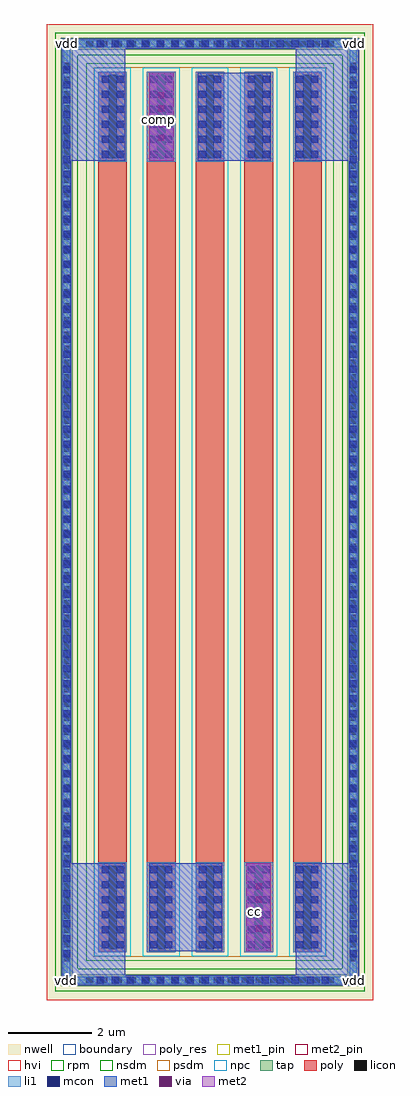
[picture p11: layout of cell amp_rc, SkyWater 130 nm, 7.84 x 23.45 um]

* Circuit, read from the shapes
.subckt amp_rc cc comp vdd
XR1 vdd vdd VSUBS sky130_fd_pr__res_high_po w=0.69 l=16.88 m=2
XR2 comp n1 VSUBS sky130_fd_pr__res_high_po w=0.69 l=16.88
XR3 n2 n1 VSUBS sky130_fd_pr__res_high_po w=0.69 l=16.88
XR4 n2 cc VSUBS sky130_fd_pr__res_high_po w=0.69 l=16.88
.ends

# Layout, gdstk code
from math import pi, radians
import gdstk
lib = gdstk.Library(unit=1e-6, precision=1e-09)
def R(c, l, rs):  # rectangles x0, y0, x1, y1
    for r in rs: c.add(gdstk.rectangle(r[:2], r[2:], *l))
def A(c, l, x, y, w, h, nx, ny, dx, dy):  # array of equal rectangles
    R(c, l, [(x+i*dx, y+j*dy, x+i*dx+w, y+j*dy+h) for i in range(nx) for j in range(ny)])
nwell = (64, 20)
tap = (65, 44)
poly_res = (66, 13)
poly = (66, 20)
licon = (66, 44)
li1 = (67, 20)
mcon = (67, 44)
met1_pin = (68, 16)
met1 = (68, 20)
via = (68, 44)
met2_pin = (69, 16)
met2 = (69, 20)
hvi = (75, 20)
rpm = (86, 20)
nsdm = (93, 44)
psdm = (94, 20)
npc = (95, 20)
boundary = (235, 4)

via__li_m1 = lib.new_cell('via__LI_M1')
R(via__li_m1, li1, [(0.03,0.03,0.56,0.2)])
R(via__li_m1, mcon, [(0.03,0.03,0.2,0.2), (0.39,0.03,0.56,0.2)])
R(via__li_m1, met1, [(0,0,0.59,0.23)])

via__m1_m2 = lib.new_cell('via__M1_M2')
R(via__m1_m2, met1, [(0,0.05,0.7,0.35)])
R(via__m1_m2, via, [(0.115,0.125,0.265,0.275), (0.435,0.125,0.585,0.275)])
R(via__m1_m2, met2, [(0.05,0,0.65,0.4)])

sky130_fd_pr__res_high_p = lib.new_cell('sky130_fd_pr__res_high_po_0p69_APWX4A')
R(sky130_fd_pr__res_high_p, nwell, [(0,0,7.84,23.45)])
R(sky130_fd_pr__res_high_p, tap, [(0.33,0.33,7.51,0.62), (0.33,0.62,0.62,22.83), (7.22,0.62,7.51,22.83), (0.33,22.83,7.51,23.12)])
A(sky130_fd_pr__res_high_p, poly_res, 1.235, 3.225, 0.69, 17, 5, 1, 1.17, 0)
A(sky130_fd_pr__res_high_p, poly, 1.235, 1.145, 0.69, 21.16, 5, 1, 1.17, 0)
A(sky130_fd_pr__res_high_p, licon, 0.945, 0.39, 0.17, 0.17, 18, 2, 0.34, 22.5)
A(sky130_fd_pr__res_high_p, licon, 0.39, 0.93, 0.17, 0.17, 1, 64, 0, 0.34)
A(sky130_fd_pr__res_high_p, licon, 7.28, 0.93, 0.17, 0.17, 1, 64, 0, 0.34)
A(sky130_fd_pr__res_high_p, licon, 1.485, 1.225, 0.19, 2, 5, 2, 1.17, 19)
A(sky130_fd_pr__res_high_p, li1, 1.235, 1.145, 0.69, 2.16, 5, 2, 1.17, 19)
R(sky130_fd_pr__res_high_p, li1, [(0.39,0.39,7.45,0.56), (0.39,0.56,0.56,22.89), (7.28,0.56,7.45,22.89), (0.39,22.89,7.45,23.06)])
A(sky130_fd_pr__res_high_p, mcon, 1.315, 1.24, 0.17, 0.17, 1, 6, 0, 0.36)
A(sky130_fd_pr__res_high_p, mcon, 1.675, 1.24, 0.17, 0.17, 1, 6, 0, 0.36)
A(sky130_fd_pr__res_high_p, mcon, 2.485, 1.24, 0.17, 0.17, 1, 6, 0, 0.36)
A(sky130_fd_pr__res_high_p, mcon, 2.845, 1.24, 0.17, 0.17, 1, 6, 0, 0.36)
A(sky130_fd_pr__res_high_p, mcon, 3.655, 1.24, 0.17, 0.17, 1, 6, 0, 0.36)
A(sky130_fd_pr__res_high_p, mcon, 4.015, 1.24, 0.17, 0.17, 1, 6, 0, 0.36)
A(sky130_fd_pr__res_high_p, mcon, 4.825, 1.24, 0.17, 0.17, 1, 6, 0, 0.36)
A(sky130_fd_pr__res_high_p, mcon, 5.185, 1.24, 0.17, 0.17, 1, 6, 0, 0.36)
A(sky130_fd_pr__res_high_p, mcon, 5.995, 1.24, 0.17, 0.17, 1, 6, 0, 0.36)
A(sky130_fd_pr__res_high_p, mcon, 6.355, 1.24, 0.17, 0.17, 1, 6, 0, 0.36)
A(sky130_fd_pr__res_high_p, mcon, 1.315, 20.235, 0.17, 0.17, 1, 6, 0, 0.36)
A(sky130_fd_pr__res_high_p, mcon, 1.675, 20.235, 0.17, 0.17, 1, 6, 0, 0.36)
A(sky130_fd_pr__res_high_p, mcon, 2.485, 20.235, 0.17, 0.17, 1, 6, 0, 0.36)
A(sky130_fd_pr__res_high_p, mcon, 2.845, 20.235, 0.17, 0.17, 1, 6, 0, 0.36)
A(sky130_fd_pr__res_high_p, mcon, 3.655, 20.235, 0.17, 0.17, 1, 6, 0, 0.36)
A(sky130_fd_pr__res_high_p, mcon, 4.015, 20.235, 0.17, 0.17, 1, 6, 0, 0.36)
A(sky130_fd_pr__res_high_p, mcon, 4.825, 20.235, 0.17, 0.17, 1, 6, 0, 0.36)
A(sky130_fd_pr__res_high_p, mcon, 5.185, 20.235, 0.17, 0.17, 1, 6, 0, 0.36)
A(sky130_fd_pr__res_high_p, mcon, 5.995, 20.235, 0.17, 0.17, 1, 6, 0, 0.36)
A(sky130_fd_pr__res_high_p, mcon, 6.355, 20.235, 0.17, 0.17, 1, 6, 0, 0.36)
A(sky130_fd_pr__res_high_p, met1, 1.285, 1.175, 0.59, 2.105, 5, 2, 1.17, 18.995)
R(sky130_fd_pr__res_high_p, hvi, [(0,0,7.84,23.45)])
R(sky130_fd_pr__res_high_p, rpm, [(0.945,0.945,6.895,22.505)])
R(sky130_fd_pr__res_high_p, nsdm, [(0.205,0.205,7.635,0.745), (0.205,0.745,0.745,22.705), (7.095,0.745,7.635,22.705), (0.205,22.705,7.635,23.245)])
R(sky130_fd_pr__res_high_p, psdm, [(1.125,1.035,6.715,22.415)])
A(sky130_fd_pr__res_high_p, npc, 1.14, 1.05, 0.88, 21.35, 5, 1, 1.17, 0)
R(sky130_fd_pr__res_high_p, boundary, [(0.475,0.475,7.365,22.975)])

amp_rc = lib.new_cell('amp_rc')
R(amp_rc, met1_pin, [(0.36,0.36,0.59,0.59), (7.26,0.36,7.49,0.59), (0.36,22.86,0.59,23.09), (7.26,22.86,7.49,23.09)])
R(amp_rc, met1, [(0.36,0.36,0.59,23.09), (0.37,0.36,7.49,0.59), (0.37,0.36,1.885,3.28), (5.975,0.36,7.49,3.28), (7.25,0.36,7.48,23.09), (2.455,1.175,4.215,3.28), (0.37,20.17,1.885,23.09), (3.625,20.17,5.385,22.275), (5.975,20.17,7.49,23.09), (0.37,22.86,7.49,23.09)])
R(amp_rc, met2_pin, [(4.795,1.175,5.385,3.28), (2.455,20.17,3.045,22.275)])
R(amp_rc, met2, [(4.795,1.175,5.385,3.28), (2.455,20.17,3.045,22.275)])
amp_rc.add(gdstk.Reference(via__li_m1, (1.17,0.36)))
amp_rc.add(gdstk.Reference(via__li_m1, (1.89,0.36)))
amp_rc.add(gdstk.Reference(via__li_m1, (2.61,0.36)))
amp_rc.add(gdstk.Reference(via__li_m1, (3.33,0.36)))
amp_rc.add(gdstk.Reference(via__li_m1, (4.05,0.36)))
amp_rc.add(gdstk.Reference(via__m1_m2, (2.55,21.93), rotation=3*pi/2))
amp_rc.add(gdstk.Reference(via__m1_m2, (2.55,21.23), rotation=3*pi/2))
amp_rc.add(gdstk.Reference(via__li_m1, (7.25,1.59), rotation=3*pi/2))
amp_rc.add(gdstk.Reference(via__li_m1, (7.25,2.31), rotation=3*pi/2))
amp_rc.add(gdstk.Reference(via__li_m1, (7.25,3.03), rotation=3*pi/2))
amp_rc.add(gdstk.Reference(via__li_m1, (7.25,3.75), rotation=3*pi/2))
amp_rc.add(gdstk.Reference(via__li_m1, (7.25,4.47), rotation=3*pi/2))
amp_rc.add(gdstk.Reference(via__li_m1, (7.25,5.19), rotation=3*pi/2))
amp_rc.add(gdstk.Reference(via__li_m1, (7.25,5.91), rotation=3*pi/2))
amp_rc.add(gdstk.Reference(via__li_m1, (7.25,6.63), rotation=3*pi/2))
amp_rc.add(gdstk.Reference(via__li_m1, (7.25,7.35), rotation=3*pi/2))
amp_rc.add(gdstk.Reference(via__li_m1, (7.25,8.07), rotation=3*pi/2))
amp_rc.add(gdstk.Reference(via__li_m1, (7.25,8.79), rotation=3*pi/2))
amp_rc.add(gdstk.Reference(via__li_m1, (7.25,9.51), rotation=3*pi/2))
amp_rc.add(gdstk.Reference(via__li_m1, (7.25,10.23), rotation=3*pi/2))
amp_rc.add(gdstk.Reference(via__li_m1, (7.25,10.95), rotation=3*pi/2))
amp_rc.add(gdstk.Reference(via__li_m1, (7.25,11.67), rotation=3*pi/2))
amp_rc.add(gdstk.Reference(via__li_m1, (7.25,12.39), rotation=3*pi/2))
amp_rc.add(gdstk.Reference(via__li_m1, (7.25,13.11), rotation=3*pi/2))
amp_rc.add(gdstk.Reference(via__m1_m2, (4.89,2.925), rotation=3*pi/2))
amp_rc.add(gdstk.Reference(via__m1_m2, (4.89,2.225), rotation=3*pi/2))
amp_rc.add(gdstk.Reference(via__li_m1, (4.77,0.36)))
amp_rc.add(gdstk.Reference(via__li_m1, (5.49,0.36)))
amp_rc.add(gdstk.Reference(via__li_m1, (6.21,0.36)))
amp_rc.add(gdstk.Reference(via__li_m1, (7.25,13.83), rotation=3*pi/2))
amp_rc.add(gdstk.Reference(via__li_m1, (7.25,14.55), rotation=3*pi/2))
amp_rc.add(gdstk.Reference(via__li_m1, (7.25,15.27), rotation=3*pi/2))
amp_rc.add(gdstk.Reference(via__li_m1, (7.25,15.99), rotation=3*pi/2))
amp_rc.add(gdstk.Reference(via__li_m1, (7.25,16.71), rotation=3*pi/2))
amp_rc.add(gdstk.Reference(via__li_m1, (7.25,17.43), rotation=3*pi/2))
amp_rc.add(gdstk.Reference(via__li_m1, (7.25,18.15), rotation=3*pi/2))
amp_rc.add(gdstk.Reference(via__li_m1, (7.25,18.87), rotation=3*pi/2))
amp_rc.add(gdstk.Reference(via__li_m1, (7.25,19.59), rotation=3*pi/2))
amp_rc.add(gdstk.Reference(via__li_m1, (7.25,20.31), rotation=3*pi/2))
amp_rc.add(gdstk.Reference(via__li_m1, (7.25,21.03), rotation=3*pi/2))
amp_rc.add(gdstk.Reference(via__li_m1, (7.25,21.75), rotation=3*pi/2))
amp_rc.add(gdstk.Reference(via__li_m1, (7.25,22.47), rotation=3*pi/2))
amp_rc.add(gdstk.Reference(via__li_m1, (1.17,22.86)))
amp_rc.add(gdstk.Reference(via__li_m1, (1.89,22.86)))
amp_rc.add(gdstk.Reference(via__li_m1, (2.61,22.86)))
amp_rc.add(gdstk.Reference(via__li_m1, (3.33,22.86)))
amp_rc.add(gdstk.Reference(via__li_m1, (4.05,22.86)))
amp_rc.add(gdstk.Reference(via__li_m1, (4.77,22.86)))
amp_rc.add(gdstk.Reference(via__li_m1, (5.49,22.86)))
amp_rc.add(gdstk.Reference(via__li_m1, (6.21,22.86)))
amp_rc.add(gdstk.Reference(via__li_m1, (0.36,1.59), rotation=3*pi/2))
amp_rc.add(gdstk.Reference(via__li_m1, (0.36,2.31), rotation=3*pi/2))
amp_rc.add(gdstk.Reference(via__li_m1, (0.36,3.03), rotation=3*pi/2))
amp_rc.add(gdstk.Reference(via__li_m1, (0.36,3.75), rotation=3*pi/2))
amp_rc.add(gdstk.Reference(via__li_m1, (0.36,4.47), rotation=3*pi/2))
amp_rc.add(gdstk.Reference(via__li_m1, (0.36,5.19), rotation=3*pi/2))
amp_rc.add(gdstk.Reference(via__li_m1, (0.36,5.91), rotation=3*pi/2))
amp_rc.add(gdstk.Reference(via__li_m1, (0.36,6.63), rotation=3*pi/2))
amp_rc.add(gdstk.Reference(via__li_m1, (0.36,7.35), rotation=3*pi/2))
amp_rc.add(gdstk.Reference(via__li_m1, (0.36,8.07), rotation=3*pi/2))
amp_rc.add(gdstk.Reference(via__li_m1, (0.36,8.79), rotation=3*pi/2))
amp_rc.add(gdstk.Reference(via__li_m1, (0.36,9.51), rotation=3*pi/2))
amp_rc.add(gdstk.Reference(via__li_m1, (0.36,10.23), rotation=3*pi/2))
amp_rc.add(gdstk.Reference(via__li_m1, (0.36,10.95), rotation=3*pi/2))
amp_rc.add(gdstk.Reference(via__li_m1, (0.36,11.67), rotation=3*pi/2))
amp_rc.add(gdstk.Reference(via__li_m1, (0.36,12.39), rotation=3*pi/2))
amp_rc.add(gdstk.Reference(via__li_m1, (0.36,13.11), rotation=3*pi/2))
amp_rc.add(gdstk.Reference(via__li_m1, (0.36,13.83), rotation=3*pi/2))
amp_rc.add(gdstk.Reference(via__li_m1, (0.36,14.55), rotation=3*pi/2))
amp_rc.add(gdstk.Reference(via__li_m1, (0.36,15.27), rotation=3*pi/2))
amp_rc.add(gdstk.Reference(via__li_m1, (0.36,15.99), rotation=3*pi/2))
amp_rc.add(gdstk.Reference(via__li_m1, (0.36,16.71), rotation=3*pi/2))
amp_rc.add(gdstk.Reference(via__li_m1, (0.36,17.43), rotation=3*pi/2))
amp_rc.add(gdstk.Reference(via__li_m1, (0.36,18.15), rotation=3*pi/2))
amp_rc.add(gdstk.Reference(via__li_m1, (0.36,18.87), rotation=3*pi/2))
amp_rc.add(gdstk.Reference(via__li_m1, (0.36,19.59), rotation=3*pi/2))
amp_rc.add(gdstk.Reference(via__li_m1, (0.36,20.31), rotation=3*pi/2))
amp_rc.add(gdstk.Reference(via__li_m1, (0.36,21.03), rotation=3*pi/2))
amp_rc.add(gdstk.Reference(via__li_m1, (0.36,21.75), rotation=3*pi/2))
amp_rc.add(gdstk.Reference(via__li_m1, (0.36,22.47), rotation=3*pi/2))
amp_rc.add(gdstk.Reference(sky130_fd_pr__res_high_p, (0,0)))
amp_rc.add(gdstk.Label('comp', (2.69,21.15), layer=69, texttype=5))
amp_rc.add(gdstk.Label('cc', (4.99,2.138), layer=69, texttype=5))
amp_rc.add(gdstk.Label('vdd', (0.48,0.48), layer=68, texttype=5))
amp_rc.add(gdstk.Label('vdd', (7.38,0.48), layer=68, texttype=5))
amp_rc.add(gdstk.Label('vdd', (0.49,22.98), layer=68, texttype=5))
amp_rc.add(gdstk.Label('vdd', (7.38,22.98), layer=68, texttype=5))

lib.write_gds('amp_rc.gds')
